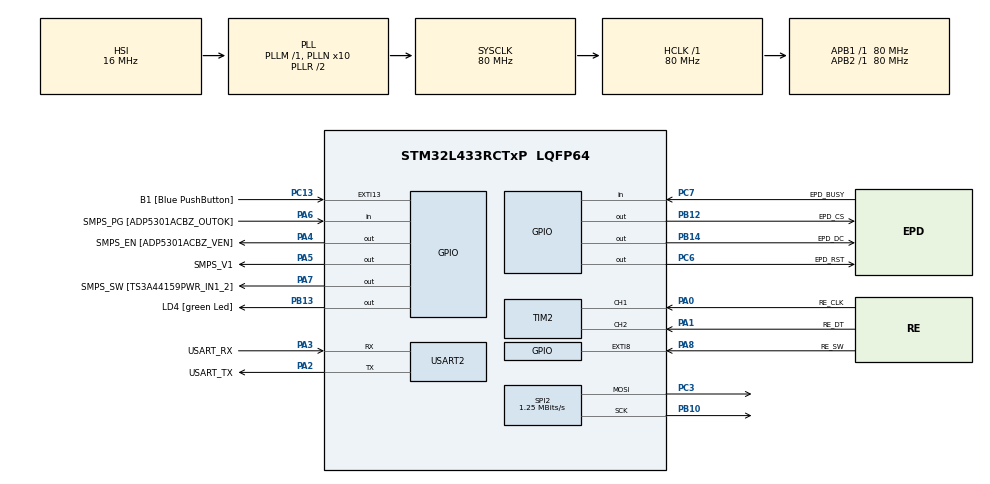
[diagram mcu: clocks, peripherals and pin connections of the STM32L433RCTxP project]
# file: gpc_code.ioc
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Mcu.Family=STM32L4
Mcu.Name=STM32L433RCTxP
Mcu.Package=LQFP64
NVIC.EXTI9_5_IRQn=true\:0\:0\:false\:false\:true\:true\:true\:true
NVIC.PriorityGroup=NVIC_PRIORITYGROUP_4
PA0.GPIO_Label=RE_CLK
PA0.Signal=S_TIM2_CH1
PA1.GPIO_Label=RE_DT
PA1.Signal=S_TIM2_CH2
PA13\ (JTMS-SWDIO).GPIO_Label=TMS
PA13\ (JTMS-SWDIO).Mode=Serial_Wire
PA13\ (JTMS-SWDIO).Signal=SYS_JTMS-SWDIO
PA14\ (JTCK-SWCLK).GPIO_Label=TCK
PA14\ (JTCK-SWCLK).Mode=Serial_Wire
PA14\ (JTCK-SWCLK).Signal=SYS_JTCK-SWCLK
PA2.GPIO_Label=USART_TX
PA2.GPIO_Mode=GPIO_MODE_AF_PP
PA2.GPIO_PuPd=GPIO_NOPULL
PA2.GPIO_Speed=GPIO_SPEED_FREQ_VERY_HIGH
PA2.Mode=Asynchronous
PA2.Signal=USART2_TX
PA3.GPIO_Label=USART_RX
PA3.GPIO_Mode=GPIO_MODE_AF_PP
PA3.GPIO_PuPd=GPIO_NOPULL
PA3.GPIO_Speed=GPIO_SPEED_FREQ_VERY_HIGH
PA3.Mode=Asynchronous
PA3.Signal=USART2_RX
PA4.GPIO_Label=SMPS_EN [ADP5301ACBZ_VEN]
PA4.Signal=GPIO_Output
PA5.GPIO_Label=SMPS_V1
PA5.GPIO_ModeDefaultOutputPP=GPIO_MODE_OUTPUT_PP
PA5.GPIO_PuPd=GPIO_NOPULL
PA5.GPIO_Speed=GPIO_SPEED_FREQ_LOW
PA5.Signal=GPIO_Output
PA6.GPIO_Label=SMPS_PG [ADP5301ACBZ_OUTOK]
PA6.GPIO_PuPd=GPIO_PULLUP
PA6.Signal=GPIO_Input
PA7.GPIO_Label=SMPS_SW [TS3A44159PWR_IN1_2]
PA7.Signal=GPIO_Output
PA8.GPIO_Label=RE_SW
PA8.GPIO_PuPd=GPIO_PULLUP
PA8.Signal=GPXTI8
PB10.Mode=TX_Only_Simplex_Unidirect_Master
PB10.Signal=SPI2_SCK
PB12.GPIO_Label=EPD_CS
PB12.GPIO_Speed=GPIO_SPEED_FREQ_HIGH
PB12.PinState=GPIO_PIN_SET
PB12.Signal=GPIO_Output
PB13.GPIO_Label=LD4 [green Led]
PB13.Signal=GPIO_Output
PB14.GPIO_Label=EPD_DC
PB14.GPIO_Speed=GPIO_SPEED_FREQ_HIGH
PB14.PinState=GPIO_PIN_SET
PB14.Signal=GPIO_Output
PB3\ (JTDO-TRACESWO).GPIO_Label=SWO
PB3\ (JTDO-TRACESWO).Signal=SYS_JTDO-SWO
PC13.GPIO_Label=B1 [Blue PushButton]
PC13.GPIO_ModeDefaultEXTI=GPIO_MODE_IT_FALLING
PC13.GPIO_PuPd=GPIO_NOPULL
PC13.Signal=GPXTI13
PC14-OSC32_IN\ (PC14).Mode=LSE-External-Oscillator
PC14-OSC32_IN\ (PC14).Signal=RCC_OSC32_IN
PC15-OSC32_OUT\ (PC15).Mode=LSE-External-Oscillator
PC15-OSC32_OUT\ (PC15).Signal=RCC_OSC32_OUT
PC3.Mode=TX_Only_Simplex_Unidirect_Master
PC3.Signal=SPI2_MOSI
PC6.GPIO_Label=EPD_RST
PC6.GPIO_Speed=GPIO_SPEED_FREQ_HIGH
PC6.PinState=GPIO_PIN_SET
PC6.Signal=GPIO_Output
PC7.GPIO_Label=EPD_BUSY
PC7.Signal=GPIO_Input
PH0-OSC_IN\ (PH0).GPIO_Label=MCO
PH0-OSC_IN\ (PH0).Mode=HSE-External-Clock-Source
PH0-OSC_IN\ (PH0).Signal=RCC_OSC_IN
PH1-OSC_OUT\ (PH1).Signal=RCC_OSC_OUT
ProjectManager.HeapSize=0x1000
ProjectManager.StackSize=0x2000
ProjectManager.TargetToolchain=STM32CubeIDE
RCC.ADCFreq_Value=64000000
RCC.AHBFreq_Value=80000000
RCC.APB1Freq_Value=80000000
RCC.APB1TimFreq_Value=80000000
RCC.APB2Freq_Value=80000000
RCC.APB2TimFreq_Value=80000000
RCC.CortexFreq_Value=80000000
RCC.HCLKFreq_Value=80000000
RCC.HSE_VALUE=8000000
RCC.HSI48_VALUE=48000000
RCC.HSI_VALUE=16000000
RCC.MSI_VALUE=4000000
RCC.PLLN=10
RCC.PLLSourceVirtual=RCC_PLLSOURCE_HSI
RCC.PREFETCH_ENABLE=1
RCC.SYSCLKFreq_VALUE=80000000
RCC.SYSCLKSource=RCC_SYSCLKSOURCE_PLLCLK
RCC.USBFreq_Value=64000000
RCC.VCOOutputFreq_Value=160000000
SH.S_TIM2_CH1.0=TIM2_CH1,Encoder_Interface
SH.S_TIM2_CH2.0=TIM2_CH2,Encoder_Interface
SPI2.BaudRatePrescaler=SPI_BAUDRATEPRESCALER_64
SPI2.CalculateBaudRate=1.25 MBits/s
SPI2.DataSize=SPI_DATASIZE_8BIT
SPI2.Direction=SPI_DIRECTION_2LINES
SPI2.Mode=SPI_MODE_MASTER
SPI2.VirtualType=VM_MASTER
TIM2.EncoderMode=TIM_ENCODERMODE_TI12
TIM2.IC1Filter=10
TIM2.IC2Filter=10
USART2.VirtualMode-Asynchronous=VM_ASYNC
board=NUCLEO-L433RC-P

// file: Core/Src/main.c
/* USER CODE BEGIN Header */
/**
 ******************************************************************************
 * @file           : main.c
 * @brief          : Main program body
 ******************************************************************************
 * @attention
 *
 * Copyright (c) 2026 STMicroelectronics.
 * All rights reserved.
 *
 * This software is licensed under terms that can be found in the LICENSE file
 * in the root directory of this software component.
 * If no LICENSE file comes with this software, it is provided AS-IS.
 *
 ******************************************************************************
 */
/* USER CODE END Header */
#include "main.h"

/* USER CODE BEGIN Includes */
#include "EPD_2in13_V4.h"
#include "GUI_Paint.h"
#include <stdbool.h>
/* USER CODE END Includes */

SPI_HandleTypeDef hspi2;

TIM_HandleTypeDef htim2;

UART_HandleTypeDef huart2;

void SystemClock_Config(void);
static void MX_GPIO_Init(void);
static void MX_USART2_UART_Init(void);
static void MX_TIM2_Init(void);
static void MX_SPI2_Init(void);

/* USER CODE BEGIN 0 */
volatile int32_t encoder_value = 0;	//Used to read rotary encoder rotation.
volatile uint32_t last_encoder_value = 0;

//Used to read rotary encoder interrupt.
volatile uint32_t last_managed_exti = 0;
volatile uint32_t last_flank_causing_exti = 0;

//States.
enum State { //Are we selecting a value or changing a value.
  Entering_Number,
  Choosing_Number,
};
enum activeVariable { //What value are we selecting or changing.
	Hole,
	HCP,
	Strokes,
};

//Golf variables.
volatile uint32_t extra_strokes = 0;
volatile uint16_t hole = 0;
volatile int strokes[] = {0,0,0,0,0,0,0,0,0,0,0,0,0,0,0,0,0,0,0};
volatile int points[] = {0,0,0,0,0,0,0,0,0,0,0,0,0,0,0,0,0,0,0};
int par[] = {0, 3, 4, 4, 5, 4, 4, 4, 4, 3, 4, 4, 3, 5, 4, 4, 5, 3, 4};
int hcp_index[] = {0, 17, 9, 11, 3, 1, 15, 7, 5, 13, 6, 14, 18, 4, 8, 2, 12, 16, 10};

UBYTE ImageBuffer[4000]; //Display buffer.

void HAL_GPIO_EXTI_Callback(uint16_t GPIO_Pin) {  //Register button press.
	if (GPIO_Pin == RE_SW_Pin) {
		if (last_flank_causing_exti == last_managed_exti) {
			last_flank_causing_exti = HAL_GetTick();
		}
	}
}

//Calculate points for individual holes and store in points[].
void calculate_stableford_points() {
    if (hole < 1 || hole > 18) {
        return;
    }

    if (strokes[hole] == 0) {
        points[hole] = 0;
        return;
    }

    int base_extra_strokes = extra_strokes / 18;
    int remaining_strokes = extra_strokes % 18;
    int strokes_for_this_hole = base_extra_strokes;

    if (hcp_index[hole] <= remaining_strokes) {
        strokes_for_this_hole += 1;
    }

    int net_strokes = strokes[hole] - strokes_for_this_hole;
    int p = par[hole] - net_strokes + 2;

    if (p < 0) {
        p = 0;
    }

    points[hole] = p;
}

//Returns total amount of accumulated points by reading and adding up points[].
uint32_t get_total_points(){
	uint32_t total_points = 0;
	for(int i = 0; i < 19; i++){
		total_points += points[i];
	}
	return total_points;
}
/* USER CODE END 0 */

int main(void) {

	/* MCU Configuration--------------------------------------------------------*/

	/* Reset of all peripherals, Initializes the Flash interface and the Systick. */
	HAL_Init();

	/* Configure the system clock */
	SystemClock_Config();

	/* Initialize all configured peripherals */
	MX_GPIO_Init();
	MX_USART2_UART_Init();
	MX_TIM2_Init();
	MX_SPI2_Init();
	/* USER CODE BEGIN 2 */
	HAL_GPIO_WritePin(SMPS_EN_GPIO_Port, SMPS_EN_Pin, GPIO_PIN_SET);
	HAL_Delay(50);

	HAL_TIM_Encoder_Start(&htim2, TIM_CHANNEL_ALL);

	//Initialize display.
	DEV_Module_Init();
	EPD_2in13_V4_Init();
	EPD_2in13_V4_Clear();
	HAL_Delay(500);

	//Configure ImageBuffer and add base text on screen.
	Paint_NewImage(ImageBuffer, EPD_2in13_V4_WIDTH, EPD_2in13_V4_HEIGHT, ROTATE_90, WHITE);
	Paint_SelectImage(ImageBuffer);
	Paint_Clear(WHITE);
	Paint_DrawString_EN(0, 0, "Ulricehamn GK", &Font24, BLACK, WHITE);
	Paint_DrawString_EN(0, 26, "Extra shots:", &Font24, BLACK, WHITE);
	Paint_DrawString_EN(0, 52, "Hole:", &Font24, BLACK, WHITE);
	Paint_DrawString_EN(0, 78, "Strokes:", &Font24, BLACK, WHITE);
	Paint_DrawString_EN(0, 104, "Pts:", &Font16, BLACK, WHITE);
	Paint_DrawString_EN(135, 52, "Par:", &Font24, BLACK, WHITE);
	Paint_DrawString_EN(80, 104, "Total-Pts:", &Font16, BLACK, WHITE);
	EPD_2in13_V4_Display_Base(ImageBuffer);

	//Add a "selection line" under "Extra shots" value on screen.
	Paint_DrawLine(214, 51, 231, 51, BLACK, 1, LINE_STYLE_DOTTED);
	EPD_2in13_V4_Display_Partial(ImageBuffer);

	//Setup state variables with starting values.
	enum State st;
	st = Choosing_Number;
	enum activeVariable av;
	av = HCP;

	//Variable used to store which way the encoder was turned.
	bool bigger;
	/* USER CODE END 2 */

	/* Infinite loop */
	/* USER CODE BEGIN WHILE */
	while (1) {
		//Logic for encoder interrupt.
		uint32_t now;

		//Logic to get encoder value
		int32_t raw_count = (int32_t) TIM2->CNT;
		encoder_value = raw_count / 4;

		//Check if button has been pressed. If it has then toggle st between Entering_Number and Choosing_Number.
		if (last_flank_causing_exti != last_managed_exti) {
			now = HAL_GetTick();
			if (now - last_flank_causing_exti >= 20) {	//Delay to eliminate contact bounce.
				last_managed_exti = last_flank_causing_exti;
				if(st == Entering_Number){
					st = Choosing_Number;
				}else if(st == Choosing_Number){
					st = Entering_Number;
				}
			}
		}

		//Check if rotary encoder has been turned.
		if(encoder_value != last_encoder_value){
			//Check which way the encoder was turned.
			if(encoder_value > last_encoder_value){
				bigger = TRUE;
			}else{
				bigger = FALSE;
			}
			last_encoder_value = encoder_value;

			//Check if st is Choosing_Number or Entering_Number.
			switch(st){
				case Choosing_Number: //If Choosing_Number.
					//Check what number we are currently hovering over and depending on that changing av and updating the screen.
					if(av == HCP){
						av = Hole;
						Paint_ClearWindows(213, 50, 232, 52, WHITE);
						Paint_DrawLine(95, 77, 112, 77, BLACK, 1, LINE_STYLE_DOTTED);
						EPD_2in13_V4_Display_Partial(ImageBuffer);
					}else if(av == Hole){ //If we are hovering over Hole value.
						av = Strokes; //Change av to say that we are hovering over Strokes value and update display accordingly.
						Paint_ClearWindows(94, 76, 113, 78, WHITE);
						Paint_DrawLine(146, 103, 163, 103, BLACK, 1, LINE_STYLE_DOTTED);
						EPD_2in13_V4_Display_Partial(ImageBuffer);
					}else if(av == Strokes){
						av = Hole;
						Paint_ClearWindows(145, 102, 164, 104, WHITE);
						Paint_DrawLine(95, 77, 112, 77, BLACK, 1, LINE_STYLE_DOTTED);
						EPD_2in13_V4_Display_Partial(ImageBuffer);
					}
					break;
				case Entering_Number: //If Entering_Number.
					//Check what number we have selected and increase/decrease that number by 1 and update display accordingly.
					if(av == HCP){
						//Increase or decrease value depending on rotation direction.
						if(bigger){extra_strokes += 1;}else if(extra_strokes > 0){extra_strokes -= 1;}
						//Update display.
						Paint_ClearWindows(214, 26, 248, 50, WHITE);
						Paint_DrawNum(214, 26, extra_strokes, &Font24, WHITE, BLACK);
						EPD_2in13_V4_Display_Partial(ImageBuffer);
					}else if(av == Hole){
						if(bigger && hole < 18){hole += 1;}else if(hole > 1){hole -= 1;}
						Paint_ClearWindows(95, 52, 129, 76, WHITE);
						Paint_ClearWindows(146, 78, 180, 102, WHITE);
						Paint_ClearWindows(213, 52, 247, 76, WHITE);
						Paint_DrawNum(95, 52, hole, &Font24, WHITE, BLACK);
						Paint_DrawNum(146, 78, strokes[hole], &Font24, WHITE, BLACK);
						Paint_DrawNum(213, 52, par[hole], &Font24, WHITE, BLACK);
						EPD_2in13_V4_Display_Partial(ImageBuffer);
					}else if(av == Strokes){
						if(bigger){strokes[hole] += 1;}else if(strokes[hole] > 0){strokes[hole] -= 1;}
						Paint_ClearWindows(146, 78, 180, 102, WHITE);
						Paint_DrawNum(146, 78, strokes[hole], &Font24, WHITE, BLACK);
						EPD_2in13_V4_Display_Partial(ImageBuffer);
					}
					break;
			}

			//If we have changed Hole or Strokes value then calculate points and update the display.
			if(av == Hole || av == Strokes){
				calculate_stableford_points();
				Paint_ClearWindows(49, 104, 71, 120, WHITE);
				Paint_ClearWindows(195, 104, 217, 120, WHITE);
				Paint_DrawNum(49, 104, points[hole], &Font16, WHITE, BLACK);
				Paint_DrawNum(195, 104, get_total_points(), &Font16, WHITE, BLACK);
				EPD_2in13_V4_Display_Partial(ImageBuffer);
			}

		}
		/* USER CODE END WHILE */

	}
}

void SystemClock_Config(void) {
	RCC_OscInitTypeDef RCC_OscInitStruct = { 0 };
	RCC_ClkInitTypeDef RCC_ClkInitStruct = { 0 };

	/** Configure the main internal regulator output voltage
	 */
	if (HAL_PWREx_ControlVoltageScaling(PWR_REGULATOR_VOLTAGE_SCALE1)
			!= HAL_OK) {
		Error_Handler();
	}

	/** Initializes the RCC Oscillators according to the specified parameters
	 * in the RCC_OscInitTypeDef structure.
	 */
	RCC_OscInitStruct.OscillatorType = RCC_OSCILLATORTYPE_HSI;
	RCC_OscInitStruct.HSIState = RCC_HSI_ON;
	RCC_OscInitStruct.HSICalibrationValue = RCC_HSICALIBRATION_DEFAULT;
	RCC_OscInitStruct.PLL.PLLState = RCC_PLL_ON;
	RCC_OscInitStruct.PLL.PLLSource = RCC_PLLSOURCE_HSI;
	RCC_OscInitStruct.PLL.PLLM = 1;
	RCC_OscInitStruct.PLL.PLLN = 10;
	RCC_OscInitStruct.PLL.PLLP = RCC_PLLP_DIV7;
	RCC_OscInitStruct.PLL.PLLQ = RCC_PLLQ_DIV2;
	RCC_OscInitStruct.PLL.PLLR = RCC_PLLR_DIV2;
	if (HAL_RCC_OscConfig(&RCC_OscInitStruct) != HAL_OK) {
		Error_Handler();
	}

	/** Initializes the CPU, AHB and APB buses clocks
	 */
	RCC_ClkInitStruct.ClockType = RCC_CLOCKTYPE_HCLK | RCC_CLOCKTYPE_SYSCLK
			| RCC_CLOCKTYPE_PCLK1 | RCC_CLOCKTYPE_PCLK2;
	RCC_ClkInitStruct.SYSCLKSource = RCC_SYSCLKSOURCE_PLLCLK;
	RCC_ClkInitStruct.AHBCLKDivider = RCC_SYSCLK_DIV1;
	RCC_ClkInitStruct.APB1CLKDivider = RCC_HCLK_DIV1;
	RCC_ClkInitStruct.APB2CLKDivider = RCC_HCLK_DIV1;

	if (HAL_RCC_ClockConfig(&RCC_ClkInitStruct, FLASH_LATENCY_4) != HAL_OK) {
		Error_Handler();
	}
}

static void MX_SPI2_Init(void) {

	/* SPI2 parameter configuration*/
	hspi2.Instance = SPI2;
	hspi2.Init.Mode = SPI_MODE_MASTER;
	hspi2.Init.Direction = SPI_DIRECTION_2LINES;
	hspi2.Init.DataSize = SPI_DATASIZE_8BIT;
	hspi2.Init.CLKPolarity = SPI_POLARITY_LOW;
	hspi2.Init.CLKPhase = SPI_PHASE_1EDGE;
	hspi2.Init.NSS = SPI_NSS_SOFT;
	hspi2.Init.BaudRatePrescaler = SPI_BAUDRATEPRESCALER_64;
	hspi2.Init.FirstBit = SPI_FIRSTBIT_MSB;
	hspi2.Init.TIMode = SPI_TIMODE_DISABLE;
	hspi2.Init.CRCCalculation = SPI_CRCCALCULATION_DISABLE;
	hspi2.Init.CRCPolynomial = 7;
	hspi2.Init.CRCLength = SPI_CRC_LENGTH_DATASIZE;
	hspi2.Init.NSSPMode = SPI_NSS_PULSE_ENABLE;
	if (HAL_SPI_Init(&hspi2) != HAL_OK) {
		Error_Handler();
	}

}

static void MX_TIM2_Init(void) {

	TIM_Encoder_InitTypeDef sConfig = { 0 };
	TIM_MasterConfigTypeDef sMasterConfig = { 0 };

	htim2.Instance = TIM2;
	htim2.Init.Prescaler = 0;
	htim2.Init.CounterMode = TIM_COUNTERMODE_UP;
	htim2.Init.Period = 4294967295;
	htim2.Init.ClockDivision = TIM_CLOCKDIVISION_DIV1;
	htim2.Init.AutoReloadPreload = TIM_AUTORELOAD_PRELOAD_DISABLE;
	sConfig.EncoderMode = TIM_ENCODERMODE_TI12;
	sConfig.IC1Polarity = TIM_ICPOLARITY_RISING;
	sConfig.IC1Selection = TIM_ICSELECTION_DIRECTTI;
	sConfig.IC1Prescaler = TIM_ICPSC_DIV1;
	sConfig.IC1Filter = 10;
	sConfig.IC2Polarity = TIM_ICPOLARITY_RISING;
	sConfig.IC2Selection = TIM_ICSELECTION_DIRECTTI;
	sConfig.IC2Prescaler = TIM_ICPSC_DIV1;
	sConfig.IC2Filter = 10;
	if (HAL_TIM_Encoder_Init(&htim2, &sConfig) != HAL_OK) {
		Error_Handler();
	}
	sMasterConfig.MasterOutputTrigger = TIM_TRGO_RESET;
	sMasterConfig.MasterSlaveMode = TIM_MASTERSLAVEMODE_DISABLE;
	if (HAL_TIMEx_MasterConfigSynchronization(&htim2, &sMasterConfig)
			!= HAL_OK) {
		Error_Handler();
	}

}

static void MX_USART2_UART_Init(void) {

	huart2.Instance = USART2;
	huart2.Init.BaudRate = 115200;
	huart2.Init.WordLength = UART_WORDLENGTH_8B;
	huart2.Init.StopBits = UART_STOPBITS_1;
	huart2.Init.Parity = UART_PARITY_NONE;
	huart2.Init.Mode = UART_MODE_TX_RX;
	huart2.Init.HwFlowCtl = UART_HWCONTROL_NONE;
	huart2.Init.OverSampling = UART_OVERSAMPLING_16;
	huart2.Init.OneBitSampling = UART_ONE_BIT_SAMPLE_DISABLE;
	huart2.AdvancedInit.AdvFeatureInit = UART_ADVFEATURE_NO_INIT;
	if (HAL_UART_Init(&huart2) != HAL_OK) {
		Error_Handler();
	}

}

static void MX_GPIO_Init(void) {
	GPIO_InitTypeDef GPIO_InitStruct = { 0 };

	/* GPIO Ports Clock Enable */
	__HAL_RCC_GPIOC_CLK_ENABLE();
	__HAL_RCC_GPIOH_CLK_ENABLE();
	__HAL_RCC_GPIOA_CLK_ENABLE();
	__HAL_RCC_GPIOB_CLK_ENABLE();

	/*Configure GPIO pin Output Level */
	HAL_GPIO_WritePin(GPIOA, SMPS_EN_Pin | SMPS_V1_Pin | SMPS_SW_Pin,
			GPIO_PIN_RESET);

	/*Configure GPIO pin Output Level */
	HAL_GPIO_WritePin(GPIOB, EPD_CS_Pin | EPD_DC_Pin, GPIO_PIN_SET);

	/*Configure GPIO pin Output Level */
	HAL_GPIO_WritePin(LD4_GPIO_Port, LD4_Pin, GPIO_PIN_RESET);

	/*Configure GPIO pin Output Level */
	HAL_GPIO_WritePin(EPD_RST_GPIO_Port, EPD_RST_Pin, GPIO_PIN_SET);

	/*Configure GPIO pin : B1_Pin */
	GPIO_InitStruct.Pin = B1_Pin;
	GPIO_InitStruct.Mode = GPIO_MODE_IT_FALLING;
	GPIO_InitStruct.Pull = GPIO_NOPULL;
	HAL_GPIO_Init(B1_GPIO_Port, &GPIO_InitStruct);

	/*Configure GPIO pins : SMPS_EN_Pin SMPS_V1_Pin SMPS_SW_Pin */
	GPIO_InitStruct.Pin = SMPS_EN_Pin | SMPS_V1_Pin | SMPS_SW_Pin;
	GPIO_InitStruct.Mode = GPIO_MODE_OUTPUT_PP;
	GPIO_InitStruct.Pull = GPIO_NOPULL;
	GPIO_InitStruct.Speed = GPIO_SPEED_FREQ_LOW;
	HAL_GPIO_Init(GPIOA, &GPIO_InitStruct);

	/*Configure GPIO pin : SMPS_PG_Pin */
	GPIO_InitStruct.Pin = SMPS_PG_Pin;
	GPIO_InitStruct.Mode = GPIO_MODE_INPUT;
	GPIO_InitStruct.Pull = GPIO_PULLUP;
	HAL_GPIO_Init(SMPS_PG_GPIO_Port, &GPIO_InitStruct);

	/*Configure GPIO pins : EPD_CS_Pin EPD_DC_Pin */
	GPIO_InitStruct.Pin = EPD_CS_Pin | EPD_DC_Pin;
	GPIO_InitStruct.Mode = GPIO_MODE_OUTPUT_PP;
	GPIO_InitStruct.Pull = GPIO_NOPULL;
	GPIO_InitStruct.Speed = GPIO_SPEED_FREQ_HIGH;
	HAL_GPIO_Init(GPIOB, &GPIO_InitStruct);

	/*Configure GPIO pin : LD4_Pin */
	GPIO_InitStruct.Pin = LD4_Pin;
	GPIO_InitStruct.Mode = GPIO_MODE_OUTPUT_PP;
	GPIO_InitStruct.Pull = GPIO_NOPULL;
	GPIO_InitStruct.Speed = GPIO_SPEED_FREQ_LOW;
	HAL_GPIO_Init(LD4_GPIO_Port, &GPIO_InitStruct);

	/*Configure GPIO pin : EPD_RST_Pin */
	GPIO_InitStruct.Pin = EPD_RST_Pin;
	GPIO_InitStruct.Mode = GPIO_MODE_OUTPUT_PP;
	GPIO_InitStruct.Pull = GPIO_NOPULL;
	GPIO_InitStruct.Speed = GPIO_SPEED_FREQ_HIGH;
	HAL_GPIO_Init(EPD_RST_GPIO_Port, &GPIO_InitStruct);

	/*Configure GPIO pin : EPD_BUSY_Pin */
	GPIO_InitStruct.Pin = EPD_BUSY_Pin;
	GPIO_InitStruct.Mode = GPIO_MODE_INPUT;
	GPIO_InitStruct.Pull = GPIO_NOPULL;
	HAL_GPIO_Init(EPD_BUSY_GPIO_Port, &GPIO_InitStruct);

	/*Configure GPIO pin : RE_SW_Pin */
	GPIO_InitStruct.Pin = RE_SW_Pin;
	GPIO_InitStruct.Mode = GPIO_MODE_IT_RISING;
	GPIO_InitStruct.Pull = GPIO_PULLUP;
	HAL_GPIO_Init(RE_SW_GPIO_Port, &GPIO_InitStruct);

	/* EXTI interrupt init*/
	HAL_NVIC_SetPriority(EXTI9_5_IRQn, 0, 0);
	HAL_NVIC_EnableIRQ(EXTI9_5_IRQn);

}

void Error_Handler(void) {
	__disable_irq();
	while (1) {
	}
}
